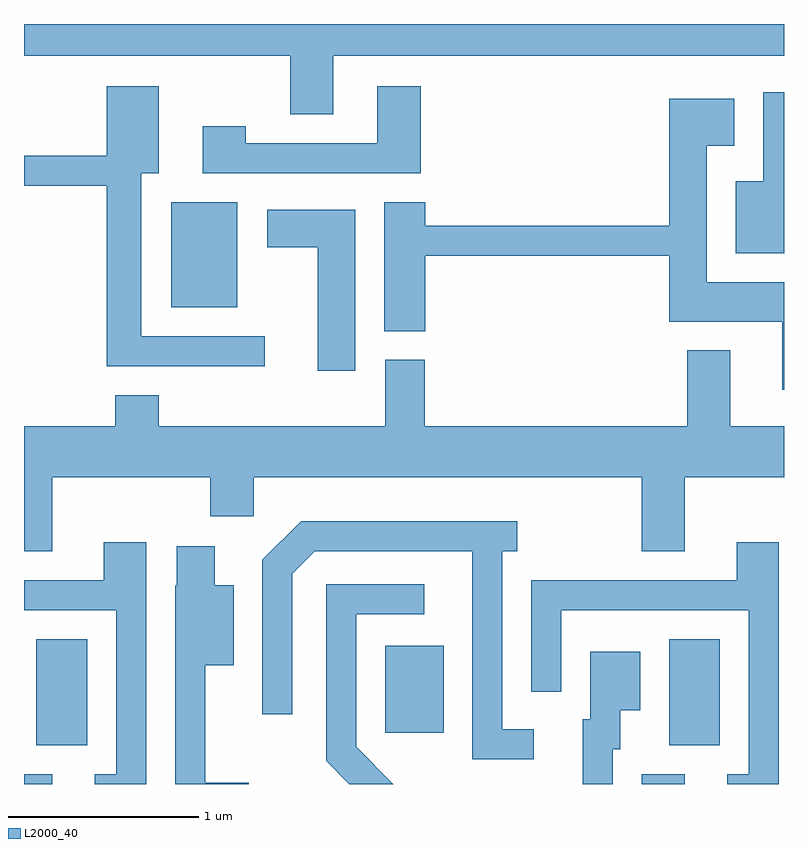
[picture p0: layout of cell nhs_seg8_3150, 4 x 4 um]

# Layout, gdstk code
import gdstk
lib = gdstk.Library(unit=1e-6, precision=1e-09)
def R(c, l, rs):  # rectangles x0, y0, x1, y1
    for r in rs: c.add(gdstk.rectangle(r[:2], r[2:], *l))
def P(c, l, *ps):  # polygons
    for p in ps: c.add(gdstk.Polygon(p, *l))
L2000_40 = (2000, 40)

nhs_seg8_3150 = lib.new_cell('nhs_seg8_3150')
R(nhs_seg8_3150, L2000_40, [(279.611,1850.342,279.759,1850.394), (282.861,1850.342,283.089,1850.394), (279.676,1850.546,279.944,1851.104), (283.006,1850.546,283.274,1851.104), (281.511,1850.611,281.819,1851.069), (280.386,1852.851,280.734,1853.404)])
P(nhs_seg8_3150, L2000_40, [(281.239,1854.176),(283.611,1854.176),(283.611,1854.342),(279.611,1854.342),(279.611,1854.176),(281.011,1854.176),(281.011,1853.866),(281.239,1853.866)],
  [(281.699,1854.014),(281.471,1854.014),(281.471,1853.714),(280.779,1853.714),(280.779,1853.804),(280.551,1853.804),(280.551,1853.556),(281.699,1853.556)],
  [(280.878,1852.699),(280.229,1852.699),(280.229,1853.556),(280.319,1853.556),(280.319,1854.014),(280.046,1854.014),(280.046,1853.649),(279.611,1853.649),(279.611,1853.491),(280.046,1853.491),(280.046,1852.541),(280.878,1852.541)],
  [(283.611,1853.984),(283.501,1853.984),(283.501,1853.514),(283.356,1853.514),(283.356,1853.136),(283.611,1853.136)],
  [(283.611,1852.984),(283.204,1852.984),(283.204,1853.701),(283.349,1853.701),(283.349,1853.949),(283.006,1853.949),(283.006,1853.279),(281.724,1853.279),(281.724,1853.404),(281.506,1853.404),(281.506,1852.726),(281.724,1852.726),(281.724,1853.121),(283.006,1853.121),(283.006,1852.776),(283.601,1852.776),(283.601,1852.416),(283.611,1852.416)],
  [(281.354,1853.364),(280.891,1853.364),(280.891,1853.166),(281.156,1853.166),(281.156,1852.516),(281.354,1852.516)],
  [(279.759,1851.956),(280.591,1851.956),(280.591,1851.751),(280.819,1851.751),(280.819,1851.956),(282.861,1851.956),(282.861,1851.566),(283.089,1851.566),(283.089,1851.956),(283.611,1851.956),(283.611,1852.224),(283.329,1852.224),(283.329,1852.624),(283.101,1852.624),(283.101,1852.224),(281.719,1852.224),(281.719,1852.574),(281.511,1852.574),(281.511,1852.224),(280.319,1852.224),(280.319,1852.389),(280.091,1852.389),(280.091,1852.224),(279.611,1852.224),(279.611,1851.566),(279.759,1851.566)],
  [(282.293,1850.629),(282.129,1850.629),(282.129,1851.566),(282.208,1851.566),(282.208,1851.724),(281.069,1851.724),(280.866,1851.522),(280.866,1850.708),(281.024,1850.708),(281.024,1851.449),(281.142,1851.566),(281.971,1851.566),(281.971,1850.471),(282.293,1850.471)],
  [(280.254,1851.614),(280.031,1851.614),(280.031,1851.414),(279.611,1851.414),(279.611,1851.256),(280.096,1851.256),(280.096,1850.394),(279.983,1850.394),(279.983,1850.342),(280.254,1850.342)],
  [(283.584,1851.614),(283.361,1851.614),(283.361,1851.414),(282.281,1851.414),(282.281,1850.828),(282.439,1850.828),(282.439,1851.256),(283.426,1851.256),(283.426,1850.394),(283.313,1850.394),(283.313,1850.342),(283.584,1850.342)],
  [(280.793,1850.349),(280.564,1850.349),(280.564,1850.966),(280.714,1850.966),(280.714,1851.389),(280.614,1851.389),(280.614,1851.594),(280.416,1851.594),(280.416,1851.385),(280.406,1851.385),(280.406,1850.342),(280.793,1850.342)],
  [(281.359,1850.537),(281.359,1851.236),(281.718,1851.236),(281.718,1851.394),(281.201,1851.394),(281.201,1850.464),(281.323,1850.342),(281.554,1850.342)],
  [(282.709,1850.526),(282.749,1850.526),(282.749,1850.731),(282.854,1850.731),(282.854,1851.039),(282.591,1851.039),(282.591,1850.684),(282.551,1850.684),(282.551,1850.342),(282.709,1850.342)])

lib.write_gds('nhs_seg8_3150.gds')
